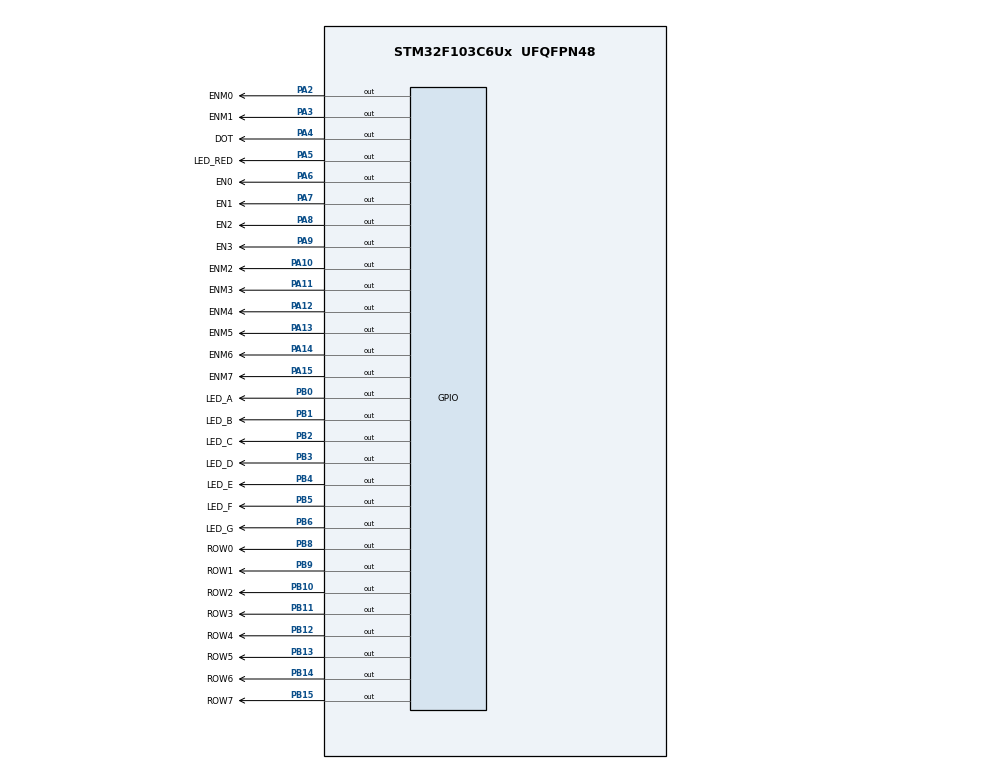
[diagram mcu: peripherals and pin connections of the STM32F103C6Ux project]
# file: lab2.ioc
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Mcu.Family=STM32F1
Mcu.Name=STM32F103C6Ux
Mcu.Package=UFQFPN48
NVIC.PriorityGroup=NVIC_PRIORITYGROUP_4
NVIC.TIM2_IRQn=true\:0\:0\:false\:false\:true\:true\:true
PA10.GPIO_Label=ENM2
PA10.PinState=GPIO_PIN_RESET
PA10.Signal=GPIO_Output
PA11.GPIO_Label=ENM3
PA11.PinState=GPIO_PIN_RESET
PA11.Signal=GPIO_Output
PA12.GPIO_Label=ENM4
PA12.PinState=GPIO_PIN_RESET
PA12.Signal=GPIO_Output
PA13.GPIO_Label=ENM5
PA13.PinState=GPIO_PIN_RESET
PA13.Signal=GPIO_Output
PA14.GPIO_Label=ENM6
PA14.PinState=GPIO_PIN_RESET
PA14.Signal=GPIO_Output
PA15.GPIO_Label=ENM7
PA15.PinState=GPIO_PIN_RESET
PA15.Signal=GPIO_Output
PA2.GPIO_Label=ENM0
PA2.PinState=GPIO_PIN_RESET
PA2.Signal=GPIO_Output
PA3.GPIO_Label=ENM1
PA3.PinState=GPIO_PIN_RESET
PA3.Signal=GPIO_Output
PA4.GPIO_Label=DOT
PA4.Signal=GPIO_Output
PA5.GPIO_Label=LED_RED
PA5.Signal=GPIO_Output
PA6.GPIO_Label=EN0
PA6.Signal=GPIO_Output
PA7.GPIO_Label=EN1
PA7.Signal=GPIO_Output
PA8.GPIO_Label=EN2
PA8.Signal=GPIO_Output
PA9.GPIO_Label=EN3
PA9.Signal=GPIO_Output
PB0.GPIO_Label=LED_A
PB0.Signal=GPIO_Output
PB1.GPIO_Label=LED_B
PB1.Signal=GPIO_Output
PB10.GPIO_Label=ROW2
PB10.Signal=GPIO_Output
PB11.GPIO_Label=ROW3
PB11.Signal=GPIO_Output
PB12.GPIO_Label=ROW4
PB12.Signal=GPIO_Output
PB13.GPIO_Label=ROW5
PB13.Signal=GPIO_Output
PB14.GPIO_Label=ROW6
PB14.Signal=GPIO_Output
PB15.GPIO_Label=ROW7
PB15.Signal=GPIO_Output
PB2.GPIO_Label=LED_C
PB2.Signal=GPIO_Output
PB3.GPIO_Label=LED_D
PB3.Signal=GPIO_Output
PB4.GPIO_Label=LED_E
PB4.Signal=GPIO_Output
PB5.GPIO_Label=LED_F
PB5.Signal=GPIO_Output
PB6.GPIO_Label=LED_G
PB6.Signal=GPIO_Output
PB8.GPIO_Label=ROW0
PB8.Signal=GPIO_Output
PB9.GPIO_Label=ROW1
PB9.Signal=GPIO_Output
ProjectManager.HeapSize=0x200
ProjectManager.StackSize=0x400
ProjectManager.TargetToolchain=STM32CubeIDE
RCC.APB1Freq_Value=8000000
RCC.APB2Freq_Value=8000000
TIM2.Period=9
TIM2.Prescaler=7999
VP_SYS_VS_ND.Mode=No_Debug
VP_TIM2_VS_ClockSourceINT.Mode=Internal
board=custom

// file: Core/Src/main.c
/* USER CODE BEGIN Header */
/**
  ******************************************************************************
  * @file           : main.c
  * @brief          : Main program body
  ******************************************************************************
  * @attention
  *
  * <h2><center>&copy; Copyright (c) 2023 STMicroelectronics.
  * All rights reserved.</center></h2>
  *
  * This software component is licensed by ST under BSD 3-Clause license,
  * the "License"; You may not use this file except in compliance with the
  * License. You may obtain a copy of the License at:
  *                        opensource.org/licenses/BSD-3-Clause
  *
  ******************************************************************************
  */
/* USER CODE END Header */
#include "main.h"

/* USER CODE BEGIN Includes */
#include "software_timer.h"

/* USER CODE END Includes */

TIM_HandleTypeDef htim2;

void SystemClock_Config(void);
static void MX_GPIO_Init(void);
static void MX_TIM2_Init(void);

/* USER CODE BEGIN 0 */
int timer0_counter = 0;
int timer0_flag = 0;
int TIMER_CYCLE = 10;
void setTimer0(int duration){
	timer0_counter = duration/TIMER_CYCLE;
	timer0_flag = 0;
}

void timer_run(){
	if (timer0_counter > 0){
		timer0_counter--;
		if (timer0_counter == 0) timer0_flag = 1;
	}
}

void display7SEG(int num){
  switch(num){
	case 0:
	  HAL_GPIO_WritePin(LED_A_GPIO_Port, LED_A_Pin, RESET);
	  HAL_GPIO_WritePin(LED_B_GPIO_Port, LED_B_Pin, RESET);
	  HAL_GPIO_WritePin(LED_C_GPIO_Port, LED_C_Pin, RESET);
	  HAL_GPIO_WritePin(LED_D_GPIO_Port, LED_D_Pin, RESET);
	  HAL_GPIO_WritePin(LED_E_GPIO_Port, LED_E_Pin, RESET);
	  HAL_GPIO_WritePin(LED_F_GPIO_Port, LED_F_Pin, RESET);
	  HAL_GPIO_WritePin(LED_G_GPIO_Port, LED_G_Pin, SET);
	  break;
	case 1:
	  HAL_GPIO_WritePin(LED_A_GPIO_Port, LED_A_Pin, SET);
	  HAL_GPIO_WritePin(LED_B_GPIO_Port, LED_B_Pin, RESET);
	  HAL_GPIO_WritePin(LED_C_GPIO_Port, LED_C_Pin, RESET);
	  HAL_GPIO_WritePin(LED_D_GPIO_Port, LED_D_Pin, SET);
	  HAL_GPIO_WritePin(LED_E_GPIO_Port, LED_E_Pin, SET);
	  HAL_GPIO_WritePin(LED_F_GPIO_Port, LED_F_Pin, SET);
	  HAL_GPIO_WritePin(LED_G_GPIO_Port, LED_G_Pin, SET);
	  break;
	case 2:
	  HAL_GPIO_WritePin(LED_A_GPIO_Port, LED_A_Pin, RESET);
	  HAL_GPIO_WritePin(LED_B_GPIO_Port, LED_B_Pin, RESET);
	  HAL_GPIO_WritePin(LED_C_GPIO_Port, LED_C_Pin, SET);
	  HAL_GPIO_WritePin(LED_D_GPIO_Port, LED_D_Pin, RESET);
	  HAL_GPIO_WritePin(LED_E_GPIO_Port, LED_E_Pin, RESET);
	  HAL_GPIO_WritePin(LED_F_GPIO_Port, LED_F_Pin, SET);
	  HAL_GPIO_WritePin(LED_G_GPIO_Port, LED_G_Pin, RESET);
	  break;
	case 3:
	  HAL_GPIO_WritePin(LED_A_GPIO_Port, LED_A_Pin, RESET);
	  HAL_GPIO_WritePin(LED_B_GPIO_Port, LED_B_Pin, RESET);
	  HAL_GPIO_WritePin(LED_C_GPIO_Port, LED_C_Pin, RESET);
	  HAL_GPIO_WritePin(LED_D_GPIO_Port, LED_D_Pin, RESET);
	  HAL_GPIO_WritePin(LED_E_GPIO_Port, LED_E_Pin, SET);
	  HAL_GPIO_WritePin(LED_F_GPIO_Port, LED_F_Pin, SET);
	  HAL_GPIO_WritePin(LED_G_GPIO_Port, LED_G_Pin, RESET);
	  break;
	case 4:
	  HAL_GPIO_WritePin(LED_A_GPIO_Port, LED_A_Pin, SET);
	  HAL_GPIO_WritePin(LED_B_GPIO_Port, LED_B_Pin, RESET);
	  HAL_GPIO_WritePin(LED_C_GPIO_Port, LED_C_Pin, RESET);
	  HAL_GPIO_WritePin(LED_D_GPIO_Port, LED_D_Pin, SET);
	  HAL_GPIO_WritePin(LED_E_GPIO_Port, LED_E_Pin, SET);
	  HAL_GPIO_WritePin(LED_F_GPIO_Port, LED_F_Pin, RESET);
	  HAL_GPIO_WritePin(LED_G_GPIO_Port, LED_G_Pin, RESET);
	  break;
	case 5:
	  HAL_GPIO_WritePin(LED_A_GPIO_Port, LED_A_Pin, RESET);
	  HAL_GPIO_WritePin(LED_B_GPIO_Port, LED_B_Pin, SET);
	  HAL_GPIO_WritePin(LED_C_GPIO_Port, LED_C_Pin, RESET);
	  HAL_GPIO_WritePin(LED_D_GPIO_Port, LED_D_Pin, RESET);
	  HAL_GPIO_WritePin(LED_E_GPIO_Port, LED_E_Pin, SET);
	  HAL_GPIO_WritePin(LED_F_GPIO_Port, LED_F_Pin, RESET);
	  HAL_GPIO_WritePin(LED_G_GPIO_Port, LED_G_Pin, RESET);
	  break;
	case 6:
	  HAL_GPIO_WritePin(LED_A_GPIO_Port, LED_A_Pin, RESET);
	  HAL_GPIO_WritePin(LED_B_GPIO_Port, LED_B_Pin, SET);
	  HAL_GPIO_WritePin(LED_C_GPIO_Port, LED_C_Pin, RESET);
	  HAL_GPIO_WritePin(LED_D_GPIO_Port, LED_D_Pin, RESET);
	  HAL_GPIO_WritePin(LED_E_GPIO_Port, LED_E_Pin, RESET);
	  HAL_GPIO_WritePin(LED_F_GPIO_Port, LED_F_Pin, RESET);
	  HAL_GPIO_WritePin(LED_G_GPIO_Port, LED_G_Pin, RESET);
	  break;
	case 7:
	  HAL_GPIO_WritePin(LED_A_GPIO_Port, LED_A_Pin, RESET);
	  HAL_GPIO_WritePin(LED_B_GPIO_Port, LED_B_Pin, RESET);
	  HAL_GPIO_WritePin(LED_C_GPIO_Port, LED_C_Pin, RESET);
	  HAL_GPIO_WritePin(LED_D_GPIO_Port, LED_D_Pin, SET);
	  HAL_GPIO_WritePin(LED_E_GPIO_Port, LED_E_Pin, SET);
	  HAL_GPIO_WritePin(LED_F_GPIO_Port, LED_F_Pin, SET);
	  HAL_GPIO_WritePin(LED_G_GPIO_Port, LED_G_Pin, SET);
	  break;
	case 8:
	  HAL_GPIO_WritePin(LED_A_GPIO_Port, LED_A_Pin, RESET);
	  HAL_GPIO_WritePin(LED_B_GPIO_Port, LED_B_Pin, RESET);
	  HAL_GPIO_WritePin(LED_C_GPIO_Port, LED_C_Pin, RESET);
	  HAL_GPIO_WritePin(LED_D_GPIO_Port, LED_D_Pin, RESET);
	  HAL_GPIO_WritePin(LED_E_GPIO_Port, LED_E_Pin, RESET);
	  HAL_GPIO_WritePin(LED_F_GPIO_Port, LED_F_Pin, RESET);
	  HAL_GPIO_WritePin(LED_G_GPIO_Port, LED_G_Pin, RESET);
	  break;
	case 9:
	  HAL_GPIO_WritePin(LED_A_GPIO_Port, LED_A_Pin, RESET);
	  HAL_GPIO_WritePin(LED_B_GPIO_Port, LED_B_Pin, RESET);
	  HAL_GPIO_WritePin(LED_C_GPIO_Port, LED_C_Pin, RESET);
	  HAL_GPIO_WritePin(LED_D_GPIO_Port, LED_D_Pin, RESET);
	  HAL_GPIO_WritePin(LED_E_GPIO_Port, LED_E_Pin, SET);
	  HAL_GPIO_WritePin(LED_F_GPIO_Port, LED_F_Pin, RESET);
	  HAL_GPIO_WritePin(LED_G_GPIO_Port, LED_G_Pin, RESET);
	  break;
	default:
	  break;
  }
}
/* USER CODE END 0 */

int main(void)
{

  /* MCU Configuration--------------------------------------------------------*/

  /* Reset of all peripherals, Initializes the Flash interface and the Systick. */
  HAL_Init();

  /* USER CODE BEGIN Init */
  setTimer1(50);
  setTimer2(100);
  setTimer3(25);
  setTimer4(5);
  /* USER CODE END Init */

  /* Configure the system clock */
  SystemClock_Config();

  /* Initialize all configured peripherals */
  MX_GPIO_Init();
  MX_TIM2_Init();
  /* USER CODE BEGIN 2 */
  HAL_TIM_Base_Start_IT(&htim2);
  const int MAX_LED = 4;
  int index_led = 0;
  int led_buffer [4] = {1, 2, 3, 4};
  void update7SEG (int index) {
	  display7SEG(led_buffer[index]);
	  switch (index){
	  	  case 0:
	  		  HAL_GPIO_WritePin(GPIOA, EN0_Pin, RESET);
		      HAL_GPIO_WritePin(GPIOA, EN1_Pin, SET);
		      HAL_GPIO_WritePin(GPIOA, EN2_Pin, SET);
		      HAL_GPIO_WritePin(GPIOA, EN3_Pin, SET);
	  		  break ;
	  	  case 1:
	  		  HAL_GPIO_WritePin(GPIOA, EN0_Pin, SET);
			  HAL_GPIO_WritePin(GPIOA, EN1_Pin, RESET);
			  HAL_GPIO_WritePin(GPIOA, EN2_Pin, SET);
			  HAL_GPIO_WritePin(GPIOA, EN3_Pin, SET);
	  		  break ;
	  	  case 2:
	  		  HAL_GPIO_WritePin(GPIOA, EN0_Pin, SET);
			  HAL_GPIO_WritePin(GPIOA, EN1_Pin, SET);
			  HAL_GPIO_WritePin(GPIOA, EN2_Pin, RESET);
			  HAL_GPIO_WritePin(GPIOA, EN3_Pin, SET);
	  		  break ;
	  	  case 3:
	  		  HAL_GPIO_WritePin(GPIOA, EN0_Pin, SET);
			  HAL_GPIO_WritePin(GPIOA, EN1_Pin, SET);
			  HAL_GPIO_WritePin(GPIOA, EN2_Pin, SET);
			  HAL_GPIO_WritePin(GPIOA, EN3_Pin, RESET);
	  		  break ;
	  	  default:
	  		  break ;
	  }
  }

  const int MAX_LED_MATRIX = 8;
  int index_led_matrix = 0;
  uint16_t COL [8] = {ENM0_Pin, ENM1_Pin, ENM2_Pin, ENM3_Pin, ENM4_Pin, ENM5_Pin, ENM6_Pin, ENM7_Pin};
  uint16_t ROW [8] = {ROW0_Pin, ROW1_Pin, ROW2_Pin, ROW3_Pin, ROW4_Pin, ROW5_Pin, ROW6_Pin, ROW7_Pin};
  uint8_t matrix_buffer[8] = {0x00, 0x00, 0xFE, 0x11, 0x11, 0xFE, 0x00, 0x00};

  void displayLEDMatrix (uint8_t index){
	  for (int i = 0; i < MAX_LED_MATRIX; i++){
		  uint8_t bit = index >> i;
		  if (bit & 1) HAL_GPIO_WritePin(GPIOB, ROW[i], RESET);
	  }
  }

  void shift (int mode){
	  uint8_t firstBit = matrix_buffer[0];
	  uint8_t lastBit = matrix_buffer[MAX_LED_MATRIX];
	  switch (mode){
	  case 0:
		  for (int i = 0; i < MAX_LED_MATRIX; i++){
		  		matrix_buffer[i] = matrix_buffer[i+1];
		  }
		  matrix_buffer[MAX_LED_MATRIX - 1] = firstBit;
		  break;
//	  case 1:
//		  for (int i = MAX_LED_MATRIX; i <= 1; i++){
//				matrix_buffer[i] = matrix_buffer[i-1];
//		  }
//		  matrix_buffer[0] = lastBit;
//		  break;
	  default:
		  break;
	  }

  }

  void clearLEDMatrix(){
	  for (int i = 0; i < MAX_LED_MATRIX; i++){
		  HAL_GPIO_WritePin(GPIOA, COL[i], SET);
		  HAL_GPIO_WritePin(GPIOB, ROW[i], SET);
	  }
  }

  void updateLEDMatrix (int index){
	  clearLEDMatrix();
	  index %= MAX_LED_MATRIX;
	  HAL_GPIO_WritePin(GPIOA, COL[index], RESET);
	  displayLEDMatrix(matrix_buffer[index]);
  }

  int hour = 15 , minute = 8 , second = 50;
  void updateClockBuffer(){
	  led_buffer[0] = hour/10;
	  led_buffer[1] = hour%10;
	  led_buffer[2] = minute/10;
	  led_buffer[3] = minute%10;
  }

  /* USER CODE END 2 */

  /* Infinite loop */
  while (1)
    {
		if (timer2_flag == 1){
			HAL_GPIO_TogglePin(GPIOA, DOT_Pin);
			HAL_GPIO_TogglePin(GPIOA, LED_RED_Pin);
			setTimer2(100);
		}
		if (timer1_flag == 1){
			second ++;
			if (second >= 60){
				second = 0;
				minute ++;
			}
			if (minute >= 60){
				minute = 0;
				hour ++;
			}
			if (hour >= 24){
				hour = 0;
			}
			updateClockBuffer ();
			setTimer1(100);
		}
		if (timer3_flag == 1){
			update7SEG(index_led++);
			index_led %= MAX_LED;
			setTimer3(15);
		}
		if (timer4_flag == 1){
			updateLEDMatrix(index_led_matrix++);
			if (index_led_matrix >= MAX_LED_MATRIX){
				index_led_matrix %= MAX_LED_MATRIX;
				shift(0);
			}
			setTimer4(5);
		}
	}
}

void SystemClock_Config(void)
{
  RCC_OscInitTypeDef RCC_OscInitStruct = {0};
  RCC_ClkInitTypeDef RCC_ClkInitStruct = {0};

  /** Initializes the RCC Oscillators according to the specified parameters
  * in the RCC_OscInitTypeDef structure.
  */
  RCC_OscInitStruct.OscillatorType = RCC_OSCILLATORTYPE_HSI;
  RCC_OscInitStruct.HSIState = RCC_HSI_ON;
  RCC_OscInitStruct.HSICalibrationValue = RCC_HSICALIBRATION_DEFAULT;
  RCC_OscInitStruct.PLL.PLLState = RCC_PLL_NONE;
  if (HAL_RCC_OscConfig(&RCC_OscInitStruct) != HAL_OK)
  {
    Error_Handler();
  }
  /** Initializes the CPU, AHB and APB buses clocks
  */
  RCC_ClkInitStruct.ClockType = RCC_CLOCKTYPE_HCLK|RCC_CLOCKTYPE_SYSCLK
                              |RCC_CLOCKTYPE_PCLK1|RCC_CLOCKTYPE_PCLK2;
  RCC_ClkInitStruct.SYSCLKSource = RCC_SYSCLKSOURCE_HSI;
  RCC_ClkInitStruct.AHBCLKDivider = RCC_SYSCLK_DIV1;
  RCC_ClkInitStruct.APB1CLKDivider = RCC_HCLK_DIV1;
  RCC_ClkInitStruct.APB2CLKDivider = RCC_HCLK_DIV1;

  if (HAL_RCC_ClockConfig(&RCC_ClkInitStruct, FLASH_LATENCY_0) != HAL_OK)
  {
    Error_Handler();
  }
}

static void MX_TIM2_Init(void)
{

  TIM_ClockConfigTypeDef sClockSourceConfig = {0};
  TIM_MasterConfigTypeDef sMasterConfig = {0};

  htim2.Instance = TIM2;
  htim2.Init.Prescaler = 7999;
  htim2.Init.CounterMode = TIM_COUNTERMODE_UP;
  htim2.Init.Period = 9;
  htim2.Init.ClockDivision = TIM_CLOCKDIVISION_DIV1;
  htim2.Init.AutoReloadPreload = TIM_AUTORELOAD_PRELOAD_DISABLE;
  if (HAL_TIM_Base_Init(&htim2) != HAL_OK)
  {
    Error_Handler();
  }
  sClockSourceConfig.ClockSource = TIM_CLOCKSOURCE_INTERNAL;
  if (HAL_TIM_ConfigClockSource(&htim2, &sClockSourceConfig) != HAL_OK)
  {
    Error_Handler();
  }
  sMasterConfig.MasterOutputTrigger = TIM_TRGO_RESET;
  sMasterConfig.MasterSlaveMode = TIM_MASTERSLAVEMODE_DISABLE;
  if (HAL_TIMEx_MasterConfigSynchronization(&htim2, &sMasterConfig) != HAL_OK)
  {
    Error_Handler();
  }

}

static void MX_GPIO_Init(void)
{
  GPIO_InitTypeDef GPIO_InitStruct = {0};

  /* GPIO Ports Clock Enable */
  __HAL_RCC_GPIOA_CLK_ENABLE();
  __HAL_RCC_GPIOB_CLK_ENABLE();

  /*Configure GPIO pin Output Level */
  HAL_GPIO_WritePin(GPIOA, ENM0_Pin|ENM1_Pin|DOT_Pin|LED_RED_Pin
                          |EN0_Pin|EN1_Pin|EN2_Pin|EN3_Pin
                          |ENM2_Pin|ENM3_Pin|ENM4_Pin|ENM5_Pin
                          |ENM6_Pin|ENM7_Pin, GPIO_PIN_RESET);

  /*Configure GPIO pin Output Level */
  HAL_GPIO_WritePin(GPIOB, LED_A_Pin|LED_B_Pin|LED_C_Pin|ROW2_Pin
                          |ROW3_Pin|ROW4_Pin|ROW5_Pin|ROW6_Pin
                          |ROW7_Pin|LED_D_Pin|LED_E_Pin|LED_F_Pin
                          |LED_G_Pin|ROW0_Pin|ROW1_Pin, GPIO_PIN_RESET);

  /*Configure GPIO pins : ENM0_Pin ENM1_Pin DOT_Pin LED_RED_Pin
                           EN0_Pin EN1_Pin EN2_Pin EN3_Pin
                           ENM2_Pin ENM3_Pin ENM4_Pin ENM5_Pin
                           ENM6_Pin ENM7_Pin */
  GPIO_InitStruct.Pin = ENM0_Pin|ENM1_Pin|DOT_Pin|LED_RED_Pin
                          |EN0_Pin|EN1_Pin|EN2_Pin|EN3_Pin
                          |ENM2_Pin|ENM3_Pin|ENM4_Pin|ENM5_Pin
                          |ENM6_Pin|ENM7_Pin;
  GPIO_InitStruct.Mode = GPIO_MODE_OUTPUT_PP;
  GPIO_InitStruct.Pull = GPIO_NOPULL;
  GPIO_InitStruct.Speed = GPIO_SPEED_FREQ_LOW;
  HAL_GPIO_Init(GPIOA, &GPIO_InitStruct);

  /*Configure GPIO pins : LED_A_Pin LED_B_Pin LED_C_Pin ROW2_Pin
                           ROW3_Pin ROW4_Pin ROW5_Pin ROW6_Pin
                           ROW7_Pin LED_D_Pin LED_E_Pin LED_F_Pin
                           LED_G_Pin ROW0_Pin ROW1_Pin */
  GPIO_InitStruct.Pin = LED_A_Pin|LED_B_Pin|LED_C_Pin|ROW2_Pin
                          |ROW3_Pin|ROW4_Pin|ROW5_Pin|ROW6_Pin
                          |ROW7_Pin|LED_D_Pin|LED_E_Pin|LED_F_Pin
                          |LED_G_Pin|ROW0_Pin|ROW1_Pin;
  GPIO_InitStruct.Mode = GPIO_MODE_OUTPUT_PP;
  GPIO_InitStruct.Pull = GPIO_NOPULL;
  GPIO_InitStruct.Speed = GPIO_SPEED_FREQ_LOW;
  HAL_GPIO_Init(GPIOB, &GPIO_InitStruct);

}

/* USER CODE BEGIN 4 */
void HAL_TIM_PeriodElapsedCallback (TIM_HandleTypeDef *htim){
	timerRun();

}
/* USER CODE END 4 */

void Error_Handler(void)
{
  __disable_irq();
  while (1)
  {
  }
}

/************************ (C) COPYRIGHT STMicroelectronics *****END OF FILE****/
